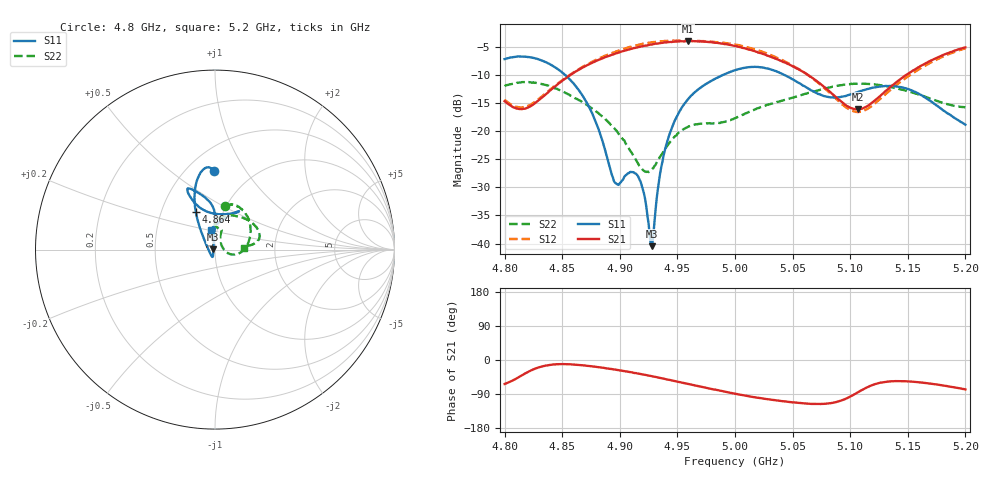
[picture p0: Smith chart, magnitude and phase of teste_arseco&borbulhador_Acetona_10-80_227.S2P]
! Network Analyzer HP8722D
! Hewlett-Packard
! Data name: Linha & Wilkinson
! Saver's name: Rodrigo Anjos
! Comments: Teste da utilização de aquisição
! continua pelo VNA HP8722D
! Time and date: 25/4/2025 17:09
!  Frequency  S11  S21  S12  S22
# HZ  S  MA R 50
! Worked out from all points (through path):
!   401 points, 4.8 GHz to 5.2 GHz, reference 50 ohm
!   highest |S21| = -4.00 dB at 4.959 GHz (marker M1); lowest = -16.1 dB at 5.107 GHz (marker M2)
!   lowest |S11| = -40.5 dB at 4.928 GHz (marker M3), VSWR 1.02, Z = 49.1 + j0.202 ohm
!   |S11| at or under -10 dB: 4.852 GHz to 4.99 GHz (137.4 MHz wide, 2.79 % of centre); 5.043 GHz to end of sweep
!   |S22| runs from -27.3 to -11.3 dB; largest |S21 - S12| = 1.2
!   S11 on the Smith chart (normalised r, x): 4.8 GHz: 0.67, +0.72; 4.864 GHz: 0.75, +0.33; 5.2 GHz: 0.93, +0.21
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4.8e9  0.4365 90.9  0.1844 -63.3  0.1897 70.0  0.2512 76.9
4.82e9  0.455 97.3  0.1615 -32.0  0.167 98.9  0.2726 61.2
4.844e9  0.3682 107.2  0.2507 -11.6  0.2538 119.2  0.2391 35.3
4.864e9  0.2342 117.1  0.3498 -12.8  0.3526 120.9  0.1894 12.1
4.867e9  0.2114 118.8  0.3638 -13.9  0.3676 120.5  0.1823 8.7
4.88e9  0.1147 129.1  0.4221 -18.4  0.4329 118.1  0.148 -5.0
4.896e9  0.03461 -170.0  0.4883 -25.4  0.5053 113.1  0.1036 -15.5
4.909e9  0.04331 -111.7  0.5358 -32.0  0.5596 107.6  0.06693 -12.9
4.916e9  0.03939 -107.9  0.5569 -36.0  0.5838 104.0  0.05108 -1.4
4.92e9  0.03033 -111.0  0.5684 -38.4  0.5982 101.7  0.04505 11.1
4.926e9  0.01175 -144.8  0.5857 -41.8  0.6103 98.3  0.0438 33.9
4.928e9  0.009478 167.5  0.5887 -43.0  0.6151 97.0  0.04612 41.3
4.934e9  0.03592 102.2  0.6017 -46.8  0.6272 93.3  0.05701 57.8
4.944e9  0.09914 91.5  0.6199 -53.1  0.6345 86.9  0.08084 68.4
4.959e9  0.191 90.0  0.631 -63.0  0.6359 77.2  0.1092 70.6
5e9  0.3472 109.3  0.5711 -89.1  0.5885 50.8  0.1301 87.6
5.03e9  0.3559 115.3  0.4621 -104.3  0.4789 33.8  0.1727 85.1
5.067e9  0.2281 105.6  0.2984 -115.8  0.2957 23.6  0.2224 56.7
5.107e9  0.2233 64.7  0.1559 -84.8  0.1476 58.4  0.2637 24.0
5.134e9  0.2519 58.0  0.2416 -56.6  0.2272 88.8  0.2478 12.2
5.168e9  0.1903 70.2  0.4135 -61.8  0.396 85.2  0.1967 6.9
5.2e9  0.1139 101.2  0.5543 -77.7  0.5445 70.1  0.1629 3.7
